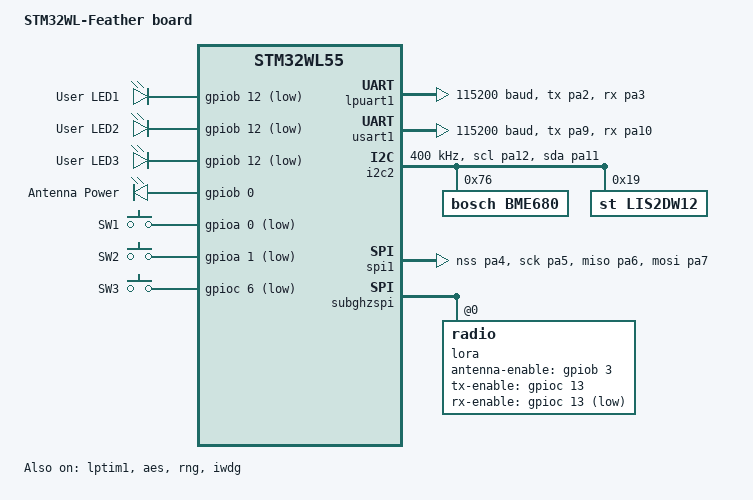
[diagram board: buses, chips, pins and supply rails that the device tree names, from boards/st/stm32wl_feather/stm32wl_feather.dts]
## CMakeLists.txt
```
#
# Copyright 2021 PureEngineering, LLC
#

cmake_minimum_required(VERSION 3.13.1)
set (CMAKE_C_FLAGS "-fdiagnostics-color=always")

ADD_DEFINITIONS(-DNETWORK_CHANNEL=${NETWORK_CHANNEL})

# Re-direct the directory where the 'boards' directory is found from
# $ZEPHYR_BASE to this directory.
set(BOARD_ROOT ${CMAKE_CURRENT_LIST_DIR})

find_package(Zephyr HINTS $ENV{ZEPHYR_BASE})
project(zymbit_tiny_device)

FILE(GLOB_RECURSE app_sources
  # src/uart_loop_back.c
  src/main.c

)

target_include_directories(app PUBLIC ${CMAKE_CURRENT_SOURCE_DIR}/src/.)


target_sources(app PRIVATE ${app_sources}) 
```

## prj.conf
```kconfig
## General Zephyr Settings
CONFIG_MAIN_STACK_SIZE=2048
CONFIG_SYSTEM_WORKQUEUE_STACK_SIZE=2048
CONFIG_THREAD_NAME=y
CONFIG_LOG=y

## LoRa PHY and required peripherals
CONFIG_SPI=y
CONFIG_GPIO=y
CONFIG_LORA=y
CONFIG_LORA_STM32WL_SUBGHZ_RADIO=y

## LoRaWAN application layer
CONFIG_LORAWAN=y
CONFIG_LORAMAC_REGION_US915=y
CONFIG_LORAWAN_SYSTEM_MAX_RX_ERROR=1000

## UART
CONFIG_SERIAL=y
CONFIG_UART_USE_RUNTIME_CONFIGURE=y
CONFIG_UART_STM32=y
CONFIG_UART_INTERRUPT_DRIVEN=y

## Random number generator required for several LoRaWAN services
CONFIG_ENTROPY_GENERATOR=y

## Debugging
# CONFIG_LORAWAN_LOG_LEVEL_DBG=y
# CONFIG_LORAWAN_LOG_LEVEL_INF=y
CONFIG_LORAWAN_LOG_LEVEL_ERR=y
# CONFIG_LORA_LOG_LEVEL_DBG=y

CONFIG_PINCTRL=y

CONFIG_PRINTK=y
CONFIG_REBOOT=y
# CONFIG_NEWLIB_LIBC=y
# CONFIG_NEWLIB_LIBC_FLOAT_PRINTF=y
CONFIG_STDOUT_CONSOLE=y
# CONFIG_TEST_RANDOM_GENERATOR=y
# CONFIG_MAIN_THREAD_PRIORITY=10

CONFIG_STM_GATEWAY_FW_VERSION_MAJOR=0
CONFIG_STM_GATEWAY_FW_VERSION_MINOR=1
CONFIG_STM_GATEWAY_FW_VERSION_PATCH=0

# CONFIG_SENSOR=y
# CONFIG_BME680=y
# CONFIG_LIS2DW12=y
```

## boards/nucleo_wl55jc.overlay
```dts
/ {
	aliases {
		red-led = &green_led_3;
		green-led = &green_led_2;
		blue-led = &blue_led_1;
		system-led = &green_led_3;
		rpc-uart = &usart1;
		uart = &lpuart1;
	};
};

&usart1 {
	pinctrl-0 = <&usart1_tx_pa9 &usart1_rx_pa10>;
	pinctrl-names = "default";
	current-speed = <115200>;
	status = "okay";
};
```

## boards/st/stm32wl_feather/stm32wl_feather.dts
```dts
/*
 * Copyright (c) 2021 PureEngineering, LLC
 *
 */

/dts-v1/;
#include <st/wl/stm32wl55Xc.dtsi>
#include <st/wl/stm32wl55ccux-pinctrl.dtsi>

/ {
	model = "STM32WL-Feather board";
	compatible = "st,stm32wl55-nucleo";

	chosen {
		zephyr,console = &usart1;            // Changed to usart for now for debugging purposes while lpuart issue is addressed
		zephyr,shell-uart = &usart1;        // Changed to usart for now for debugging purposes while lpuart issue is addressed
		// zephyr,console = &lpuart1;
		// zephyr,shell-uart = &lpuart1;
		zephyr,sram = &sram0;
		zephyr,flash = &flash0;
		zephyr,code-partition = &flash0;
	};

	leds {
		compatible = "gpio-leds";
		blue_led_1: led_0 {
			gpios = <&gpiob 12 GPIO_ACTIVE_LOW>;
			label = "User LED1";
		};
		green_led_2: led_1 {
			gpios = <&gpiob 12 GPIO_ACTIVE_LOW>;
			label = "User LED2";
		};
		green_led_3: led_2 {
			gpios = <&gpiob 12 GPIO_ACTIVE_LOW>;
			label = "User LED3";
		};

		/*
		 * Added antenna_pwr as an LED as an easy way to drive this pin high.  This pin is what turns on the antenna switch and therefore allowing operation.
		 * This is a workaround for now as it should really be defind inthe radio0 device definition however for some reason it is not driving this pin high
		 * when defining in antenna-enable-gpios so we are doing it manually here for now.
		 */
		antenna_pwr: ant_pwr {
			gpios = <&gpiob 0 GPIO_ACTIVE_HIGH>;
			label = "Antenna Power";
		};
	};

	gpio_keys {
		compatible = "gpio-keys";
		user_button_1: button_0 {
			label = "SW1";
			gpios = <&gpioa 0 (GPIO_ACTIVE_LOW | GPIO_PULL_UP)>;
		};
		user_button_2: button_1 {
			label = "SW2";
			gpios = <&gpioa 1 (GPIO_ACTIVE_LOW | GPIO_PULL_UP)>;
		};
		user_button_3: button_2 {
			label = "SW3";
			gpios = <&gpioc 6 (GPIO_ACTIVE_LOW | GPIO_PULL_UP)>;
		};
	};

	aliases {
		led0 = &green_led_2;
		system-led = &green_led_2;
		sw0 = &user_button_1;
		sw1 = &user_button_2;
		sw2 = &user_button_3;
		lora0 = &lora;
		// uart = &usart1;
		rpc-uart = &lpuart1;
		ant-pwr = &antenna_pwr;  // alias for antenna power control
	};

	// Remove power states for now for debugging and can bring back later
	// power-states {
		//     stop0: state0 {
			//         compatible = "zephyr,power-state";
			//         power-state-name = "suspend-to-idle";
			//         substate-id = <1>;
			//         min-residency-us = <100>;
		//     };
		//     stop1: state1 {
			//         compatible = "zephyr,power-state";
			//         power-state-name = "suspend-to-idle";
			//         substate-id = <2>;
			//         min-residency-us = <500>;
		//     };
		//     stop2: state2 {
			//         compatible = "zephyr,power-state";
			//         power-state-name = "suspend-to-idle";
			//         substate-id = <3>;
			//         min-residency-us = <900>;
		//     };
	// };
};

// &cpu0 {
	//     cpu-power-states = <&stop0 &stop1 &stop2>;
// };

&lptim1 {
	status = "okay";
};

&clk_hsi {
	status = "okay";
};

&pll {
	div-m = <1>;
	mul-n = <6>;
	div-r = <2>;
	div-q = <2>;
	clocks = <&clk_hsi>;
	status = "okay";
};

&rcc {
	clocks = <&pll>;
	clock-frequency = <DT_FREQ_M(48)>;
	cpu1-prescaler = <1>;
	cpu2-prescaler = <1>;
	ahb3-prescaler = <1>;
	apb1-prescaler = <1>;
	apb2-prescaler = <1>;
};

&lpuart1 {
	pinctrl-0 = <&lpuart1_tx_pa2 &lpuart1_rx_pa3>;
	pinctrl-names = "default";
	current-speed = <115200>;
	status = "okay";
};

&usart1 {
	pinctrl-0 = <&usart1_tx_pa9 &usart1_rx_pa10>;
	pinctrl-names = "default";
	current-speed = <115200>;
	status = "okay";
};

&i2c2 {
	pinctrl-0 = <&i2c2_scl_pa12 &i2c2_sda_pa11>;
	pinctrl-names = "default";
	status = "okay";
	clock-frequency = <I2C_BITRATE_FAST>;

	bme680: bme680@76 {
		compatible = "bosch,bme680";
		reg = <0x76>;
		// label = "BME680";
		status = "okay";
	};
	lis2dw12: lis2dw12@19 {
		compatible = "st,lis2dw12";
		reg = <0x19>;
		// label = "LIS2DW12";
		status = "okay";
	};

};

&spi1 {
	pinctrl-0 = <&spi1_nss_pa4 &spi1_sck_pa5
	&spi1_miso_pa6 &spi1_mosi_pa7>;
	pinctrl-names = "default";
	status = "okay";
};

// &adc1 {
	//     status = "okay";
// };

// &die_temp {
	//     status = "okay";
// };

&aes {
	status = "okay";
};

&rng {
	status = "okay";
};

&iwdg {
	status = "okay";
};

&subghzspi {
	status = "okay";
	lora: radio@0 {
		status = "okay";
		antenna-enable-gpios = <&gpiob 3 GPIO_ACTIVE_HIGH>; // This should be defined as gpiob 0 but it is not setting the pin high therefore we are manually driving.  See the LED definition at the top <antenna_pwr>
		tx-enable-gpios = <&gpioc 13 GPIO_ACTIVE_HIGH>;
		rx-enable-gpios = <&gpioc 13 GPIO_ACTIVE_LOW>;
		// dio3-tcxo-voltage = <SX126X_DIO3_TCXO_1V7>;
		// tcxo-power-startup-delay-ms = <5>;
		power-amplifier-output = "rfo-hp";
		rfo-lp-max-power = <15>;
		rfo-hp-max-power = <22>;
	};
};

&flash0 {
	/*
	 * For more information, see:
	 * http: //docs.zephyrproject.org/latest/guides/dts/index.html#flash-partitions
	 */
	partitions {
		compatible = "fixed-partitions";
		#address-cells = <1>;
		#size-cells = <1>;

		/*
		 * Set 16kB of storage (8x2kB pages) at the end of the 256kB of
		 * flash.
		 */
		storage_partition: partition@3c000 {
			label = "storage";
			reg = <0x0003c000 0x00004000>;
		};
	};
};
```

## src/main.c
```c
#include <zephyr/device.h>
#include <zephyr/lorawan/lorawan.h>
#include <zephyr/kernel.h>
#include <zephyr/random/random.h>
#include <zephyr/drivers/uart.h>
#include <zephyr/drivers/lora.h>
#include <zephyr/drivers/gpio.h>

#include <stdio.h>
#include <string.h>
#include <stdlib.h>
#include <stdint.h>

#define LOG_LEVEL CONFIG_LOG_DEFAULT_LEVEL
#include <zephyr/logging/log.h>
LOG_MODULE_REGISTER(hemrmes_zymbit);

// ------------------------------------------ USER CONFIGURABLE SETTINGS ------------------------------------------ //

/*-- UART --*/
#define UART_RESPONSE_BUFFER_SIZE 255 // Max possible size of the uart rx buffer
#define UART_RX_TIMEOUT K_SECONDS(2)  // Amount of time to wait without receiving any packets before sending to uplink

// interface settings
// #define BAUDRATE 115200
#define BAUDRATE 14400
#define PARITY UART_CFG_PARITY_NONE
#define STOP_BITS UART_CFG_STOP_BITS_1
#define FLOW_CTRL UART_CFG_FLOW_CTRL_NONE
#define DATA_BITS UART_CFG_DATA_BITS_8

/*-- LoRaWAN --*/
/* Customize based on network configuration */
#define LORAWAN_DEV_EUI {0xDD, 0xEE, 0xAA, 0xDD, 0xBB, 0xEE, 0xEE, 0xFF}
#define LORAWAN_JOIN_EUI {0x00, 0x00, 0x00, 0x00, 0x00, 0x00, 0x00, 0x00}
#define LORAWAN_APP_KEY {0xA1, 0x49, 0xBB, 0xBF, 0x1C, 0x7E, 0x61, 0xBA, 0x31, 0xA7, 0xB3, 0x80, 0x92, 0x7B, 0x12, 0xCA} // Generated server side to be sure then filled in here before joining
#define LORAWAN_SEND_PORT 1
#define LORAWAN_DATARATE LORAWAN_DR_4		 // Set data rate to 4 because payload is 242 bytes
#define LORAWAN_ADR false					 // Set ADR or not.  Have it disabled because it was selecting datarate with payload sizes too small.
#define LORAWAN_CONFIG_MODE LORAWAN_ACT_OTAA // or LORAWAN_ACT_ABP
#define LORAWAN_TX_RETRY_DELAY K_MSEC(10000) // Amount of time to wait before retrying LoRaWAN tx

#define LORAWAN_TX_INTERVAL K_SECONDS(5) // Uplink a message using this interval

uint8_t data_test[] = {0X00, 0X01, 0X00, 0X02, 0X00, 0X00, 0X00, 0X01, 0X00, 0X00, 0X00, 0X09}; // Data to be sent up first after joining network.  Can remove this functionality if desired

// ------------------------------------------ UART SETUP ------------------------------------------ //

// Set UART device from DTS
#define MY_UART DT_ALIAS(rpc_uart)
#if DT_NODE_HAS_STATUS(MY_UART, okay)
const struct device *uart0 = DEVICE_DT_GET(MY_UART);
#else
#error "UART node is disabled"
#endif

static struct k_timer uart_rx_timer;
struct uart_msg
{
	uint8_t data[UART_RESPONSE_BUFFER_SIZE];
	size_t len;
};

/* Queue to store up to 10 messages (aligned to 4-byte boundary) */
K_MSGQ_DEFINE(uart_msgq, sizeof(struct uart_msg), 10, 4);

struct uart_config uart_cfg = {
	.baudrate = BAUDRATE,
	.parity = PARITY,
	.stop_bits = STOP_BITS,
	.flow_ctrl = FLOW_CTRL,
	.data_bits = DATA_BITS,
};

/* Receive buffer used in UART ISR callback */
static uint8_t rx_buf[UART_RESPONSE_BUFFER_SIZE];
static int rx_buf_pos;

/* Timer callback function */
void rx_timeout_handler(struct k_timer *not_used)
{
	if (rx_buf_pos > 0)
	{
		/* Create a message struct */
		struct uart_msg msg;
		memcpy(msg.data, rx_buf, rx_buf_pos);
		msg.len = rx_buf_pos;

		LOG_INF("Adding buffer of size %zu to message queue\n", msg.len);
		/* If queue is full, message is silently dropped */
		k_msgq_put(&uart_msgq, &msg, K_NO_WAIT);

		/* Reset the buffer */
		rx_buf_pos = 0;
	}
}

/*
 * Read characters from UART until no character is detected for the timeout time specified. 
 * Afterwards push the
 * data to the message queue.
 */
void serial_cb(const struct device *dev, void *user_data)
{
	uint8_t c;

	if (!uart_irq_update(dev))
	{
		return;
	}

	if (!uart_irq_rx_ready(dev))
	{
		return;
	}

	/* Read until FIFO empty */
	while (uart_fifo_read(dev, &c, 1) == 1)
	{
		if (rx_buf_pos < sizeof(rx_buf))
		{
			rx_buf[rx_buf_pos++] = c;

			/* Reset the timer on data received */
			k_timer_start(&uart_rx_timer, UART_RX_TIMEOUT, K_NO_WAIT);
		}
	}
}

/*
 * Print a message in hex format to the UART interface
 */
void print_uart_hex(const uint8_t *buf, size_t len)
{
	for (size_t i = 0; i < len; i++)
	{
		printk("%02X ", buf[i]);
	}
	printk("\n");
}

/*
 * Send data out over uart
 */
void send_uart_command(const struct device *uart, uint8_t *command, size_t length)
{
	for (size_t i = 0; i < length; i++)
	{
		uart_poll_out(uart, command[i]);
	}
	// printk("\nSent command: ");
	// print_uart_hex(command, length);
	// OR
	LOG_HEXDUMP_INF(command, length, "Sent Command: ");
}

int uart_init()
{
	if (!device_is_ready(uart0))
	{
		LOG_ERR("UART device not found\n");
		return -1;
	}
	// Configure UART device
	int ret = uart_configure(uart0, &uart_cfg);
	if (ret == -ENOSYS)
	{
		LOG_ERR("Error - Config not supported or can't set config: %d", ret);
		return ret;
	}
	else if (ret == -ENOTSUP)
	{
		LOG_ERR("Error - API not enabled: %d", ret);
		return ret;
	}
	else if (ret < 0)
	{
		LOG_ERR("Error - Failed to configure UART device: %d", ret);
		return ret;
	}

	/* Configure interrupt and callback to receive data */
	ret = uart_irq_callback_user_data_set(uart0, serial_cb, NULL);
	if (ret == -ENOSYS)
	{
		LOG_ERR("Error - UART irq callback function not implemented: %d", ret);
		return ret;
	}
	else if (ret == -ENOTSUP)
	{
		LOG_ERR("Error - API not enabled: %d", ret);
		return ret;
	}

	uart_irq_rx_enable(uart0);

	return 0;
}

extern void uart_listen_msg_queue_thread()
{
	struct uart_msg temp_buf;

	LOG_INF("Waiting for UART message");
	while (k_msgq_get(&uart_msgq, &temp_buf, K_FOREVER) == 0)
	{
		/* Process the message */
		LOG_HEXDUMP_INF(temp_buf.data, temp_buf.len, "Message: ");
		LOG_INF("Sending LoRaWAN Uplink");

		while (lorawan_send(LORAWAN_SEND_PORT, temp_buf.data, temp_buf.len,
							LORAWAN_MSG_CONFIRMED))
		{
			LOG_INF("Retrying Uplink");
		}
		LOG_INF("Data sent!");
	}
}

// Start a separate thread that listens for uart messages and adds them to the message queue.  This happens while the device periodically sends lorawan uplinks in the main function.
K_THREAD_DEFINE(uart_rx_thread, 2048, uart_listen_msg_queue_thread, NULL, NULL, NULL, K_LOWEST_APPLICATION_THREAD_PRIO, 0, 0);

// ------------------------------------------ END UART SETUP ------------------------------------------ //

// ------------------------------------------ LORAWAN SETUP ------------------------------------------ //
// Set UART device from DTS
#define MY_LORA DT_ALIAS(lora0)
#if DT_NODE_HAS_STATUS(MY_LORA, okay)
const struct device *lora_dev = DEVICE_DT_GET(MY_LORA);
#else
#error "LoRa node is disabled"
#endif

int send_port = LORAWAN_SEND_PORT;
uint8_t tx_retries = 13;

static void dl_callback(uint8_t port, bool data_pending,
						int16_t rssi, int8_t snr,
						uint8_t len, const uint8_t *hex_data)
{
	if (hex_data == NULL)
	{
		LOG_INF("ACK Received");
		LOG_INF("length: %i", len);
	}
	else
	{
		uint8_t *temp = &len;
		LOG_INF("Port %d, Pending %d, RSSI %ddB, SNR %ddBm", port, data_pending, rssi, snr);
		LOG_INF("payload length: %i", len);
		LOG_HEXDUMP_INF(hex_data, len, "Payload: ");
		send_uart_command(uart0, temp, 1); // Sending dowlink size first per hermes spec
		send_uart_command(uart0, hex_data, len);
	}
}

static void lorwan_datarate_changed(enum lorawan_datarate dr)
{
	uint8_t unused, max_size;

	lorawan_get_payload_sizes(&unused, &max_size);
	LOG_INF("New Datarate: DR_%d, Max Payload %d", dr, max_size);
}


// ------------------------------------------ END LORAWAN SETUP ------------------------------------------ //

// Setting the antenna power device to manually drive
const struct gpio_dt_spec ant_pwr = GPIO_DT_SPEC_GET_OR(DT_ALIAS(ant_pwr), gpios, {0});

int main(void)
{
	/* Initialize UART receive timeout timer */
	k_timer_init(&uart_rx_timer, rx_timeout_handler, NULL);

	int ret = uart_init();
	if (ret < 0)
	{
		LOG_ERR("UART init error");
		return 0;
	}

	// configure and drive the antenna power pin high
	ret = gpio_pin_configure_dt(&ant_pwr, GPIO_OUTPUT_ACTIVE);
	if (ret < 0)
	{
		LOG_ERR("ant_pwr gpio error");
		return 0;
	}
	gpio_pin_set(ant_pwr.port, ant_pwr.pin, 1);

	struct lora_modem_config config;
	struct lorawan_join_config join_cfg;
	uint8_t dev_eui[] = LORAWAN_DEV_EUI;
	uint8_t join_eui[] = LORAWAN_JOIN_EUI;
	uint8_t app_key[] = LORAWAN_APP_KEY;

	struct lorawan_downlink_cb downlink_cb = {
		.port = LW_RECV_PORT_ANY,
		.cb = dl_callback};

	if (!device_is_ready(lora_dev))
	{
		LOG_ERR("%s: device not ready.", lora_dev->name);
		return -EIO;
	}
	else
	{
		// config.frequency = frequency;
		// config.bandwidth = BW_500_KHZ;
		// config.datarate = SF_10;
		// config.preamble_len = 32;
		// config.coding_rate = CR_4_5;
		// config.tx_power = 16;
		config.tx = true;
		ret = lora_config(lora_dev, &config);
		if (ret < 0)
		{
			LOG_ERR("LoRa config failed %d", ret);
			return -EIO;
		}
		else
		{
			LOG_INF("LoRa config success");
		}
	}

#if defined(CONFIG_LORAMAC_REGION_US915)
	/* If more than one region Kconfig is selected, app should set region
	 * before calling lorawan_start()
	 */
	ret = lorawan_set_region(LORAWAN_REGION_US915);
	if (ret < 0)
	{
		LOG_ERR("lorawan_set_region failed: %d", ret);
		return 0;
	}
#endif

	ret = lorawan_start();
	if (ret < 0)
	{
		LOG_ERR("lorawan_start failed: %d", ret);
		return 0;
	}
	lorawan_register_downlink_callback(&downlink_cb);
	lorawan_register_dr_changed_callback(lorwan_datarate_changed);

	if (LORAWAN_ADR)
	{
		// Don't use adr because it might adjust dr to a rate that does not support full payload size
		lorawan_enable_adr(true);
		if (ret < 0)
		{
			LOG_ERR("enable_adr failed: %d", ret);
			return 0;
		}
	}
	else
	{
		ret = lorawan_set_datarate(LORAWAN_DATARATE);
		if (ret < 0)
		{
			LOG_ERR("lorawan_set_datarate failed: %d", ret);
			return 0;
		}

		ret = lorawan_set_conf_msg_tries(tx_retries);
		if (ret < 0)
		{
			LOG_ERR("set_message_tries failed: %d", ret);
			return 0;
		}
	}

	uint32_t random = sys_rand32_get();
	uint16_t dev_nonce = random & 0x0000FFFF;

	join_cfg.mode = LORAWAN_CONFIG_MODE;
	join_cfg.dev_eui = dev_eui;
	join_cfg.otaa.join_eui = join_eui;
	join_cfg.otaa.app_key = app_key;
	join_cfg.otaa.nwk_key = app_key;
	join_cfg.otaa.dev_nonce = dev_nonce;

	LOG_INF("Joining network over OTAA");
	ret = lorawan_join(&join_cfg);
	if (ret < 0)
	{
		LOG_ERR("lorawan_join_network failed: %d", ret);
		return 0;
	}

	LOG_INF("Sending data...");
	while (1)
	{
		ret = lorawan_send(send_port, data_test, sizeof(data_test),
						   LORAWAN_MSG_CONFIRMED);

		/*
		 * Note: The stack may return -EAGAIN if the provided data
		 * length exceeds the maximum possible one for the region and
		 * datarate.
		 */
		if (ret == -EAGAIN)
		{
			LOG_ERR("lorawan_send failed: %d. Continuing...", ret);
			k_sleep(LORAWAN_TX_RETRY_DELAY);
			continue;
		}
		else if (ret < 0)
		{
			LOG_ERR("lorawan_send failed: %d", ret);
			continue;
		}
		else
		{
			LOG_INF("Data sent!");
			// break;
		}

		k_sleep(LORAWAN_TX_INTERVAL);
	}
}
```

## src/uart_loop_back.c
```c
/*
    To flash this program, change which file is built in CMakeLists.txt
*/

#include <zephyr/kernel.h>
#include <zephyr/device.h>
#include <zephyr/drivers/uart.h>
#include <zephyr/drivers/gpio.h>

#include <string.h>

/* change this to any other UART peripheral if desired */
#define UART_DEVICE_NODE DT_CHOSEN(zephyr_shell_uart)

#define MY_UART DT_ALIAS(rpc_uart)
#if DT_NODE_HAS_STATUS(MY_UART, okay)
const struct device *const usart = DEVICE_DT_GET(MY_UART);
#else
#error "Node is disabled"
#endif

#define MSG_SIZE 32

/* queue to store up to 10 messages (aligned to 4-byte boundary) */
K_MSGQ_DEFINE(uart_msgq, MSG_SIZE, 10, 4);

static const struct device *const uart_dev = DEVICE_DT_GET(UART_DEVICE_NODE);
const struct gpio_dt_spec system_led = GPIO_DT_SPEC_GET_OR(DT_ALIAS(system_led), gpios, {0});

/* receive buffer used in UART ISR callback */
static char rx_buf[MSG_SIZE];
static int rx_buf_pos;

static char rx_buf_2[MSG_SIZE];
static int rx_buf_2_pos;

/*
 * Read characters from UART until line end is detected. Afterwards push the
 * data to the message queue.
 */
void serial_cb(const struct device *dev, void *user_data)
{
    uint8_t c;

    if (!uart_irq_update(dev))
    {
        return;
    }

    if (!uart_irq_rx_ready(dev))
    {
        return;
    }

    /* read until FIFO empty */
    while (uart_fifo_read(dev, &c, 1) == 1)
    {
        if ((c == '\n' || c == '\r') && rx_buf_pos > 0)
        {
            /* terminate string */
            rx_buf[rx_buf_pos] = '\0';

            /* if queue is full, message is silently dropped */
            k_msgq_put(&uart_msgq, &rx_buf, K_NO_WAIT);

            /* reset the buffer (it was copied to the msgq) */
            rx_buf_pos = 0;
        }
        else if (rx_buf_pos < (sizeof(rx_buf) - 1))
        {
            rx_buf[rx_buf_pos++] = c;
        }
        /* else: characters beyond buffer size are dropped */
    }
}

void serial_cb_usart(const struct device *dev, void *user_data)
{
    uint8_t c;

    if (!uart_irq_update(dev))
    {
        return;
    }

    if (!uart_irq_rx_ready(dev))
    {
        return;
    }

    /* read until FIFO empty */
    while (uart_fifo_read(dev, &c, 1) == 1)
    {
        if ((c == '\n' || c == '\r') && rx_buf_2_pos > 0)
        {
            /* terminate string */
            rx_buf_2[rx_buf_2_pos] = '\0';

            /* if queue is full, message is silently dropped */
            // k_msgq_put(&uart_msgq, &rx_buf, K_NO_WAIT);
            printk("Usart recieved: ");
            printk(rx_buf_2);
            printk("\n");

            /* reset the buffer (it was copied to the msgq) */
            rx_buf_2_pos = 0;
        }
        else if (rx_buf_2_pos < (sizeof(rx_buf_2) - 1))
        {
            rx_buf_2[rx_buf_2_pos++] = c;
        }
        /* else: characters beyond buffer size are dropped */
    }
}

/*
 * Print a null-terminated string character by character to the UART interface
 */
void print_uart(const struct device *dev, char *buf)
{
    int msg_len = strlen(buf);

    for (int i = 0; i < msg_len; i++)
    {
        uart_poll_out(dev, buf[i]);
    }
}

int main(void)
{

    /* Configure system-led */
    gpio_pin_configure_dt(&system_led, GPIO_OUTPUT_INACTIVE);

    /* Test LED blink */
    for (int i = 0; i < 3; i++)
    {
        gpio_pin_set(system_led.port, system_led.pin, 1);
        k_msleep(500);
        gpio_pin_set(system_led.port, system_led.pin, 0);

        k_msleep(500);
    }

    char tx_buf[MSG_SIZE];

    if (!device_is_ready(uart_dev))
    {
        printk("UART device not found!");
        return 0;
    }

    if (!device_is_ready(usart))
    {
        printk("UART device not found!");
        return 0;
    }

    /* configure interrupt and callback to receive data */
    int ret = uart_irq_callback_user_data_set(uart_dev, serial_cb, NULL);
    ret = uart_irq_callback_user_data_set(usart, serial_cb_usart, NULL);

    if (ret < 0)
    {

        if (ret == -ENOTSUP)
        {
            printk("Interrupt-driven UART API support not enabled\n");
        }
        else if (ret == -ENOSYS)
        {
            printk("UART device does not support interrupt-driven API\n");
        }
        else
        {
            printk("Error setting UART callback: %d\n", ret);
        }
        return 0;
    }
    uart_irq_rx_enable(uart_dev);
    uart_irq_rx_enable(usart);

    print_uart(uart_dev, "Hello! I'm your echo bot.\r\n");
    print_uart(uart_dev, "Tell me something and press enter:\r\n");

    for (int i = 0; i < 3; i++)
    {
        gpio_pin_set(system_led.port, system_led.pin, 1);
        k_msleep(500);
        gpio_pin_set(system_led.port, system_led.pin, 0);

        k_msleep(500);
    }

    /* indefinitely wait for input from the user */
    while (k_msgq_get(&uart_msgq, &tx_buf, K_FOREVER) == 0)
    {
        print_uart(uart_dev, "Echo: ");
        print_uart(uart_dev, tx_buf);
        print_uart(uart_dev, "\r\n");

        print_uart(usart, tx_buf);
        print_uart(usart, "\r\n");
    }
    return 0;
}
```
